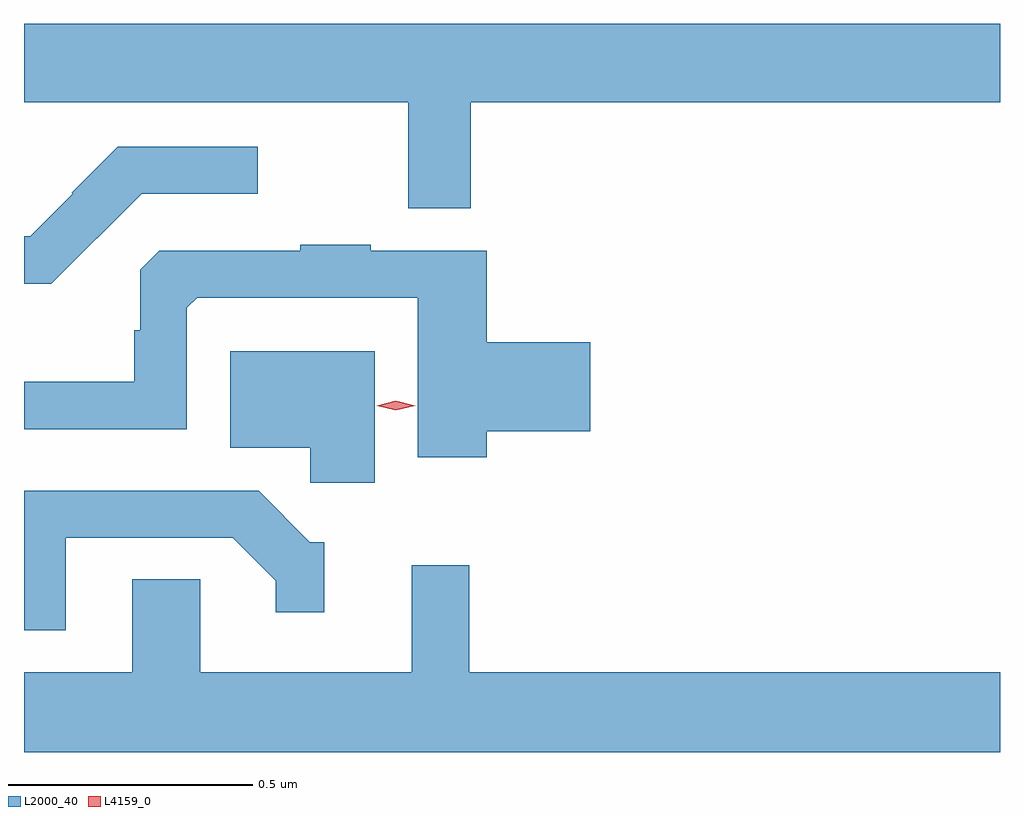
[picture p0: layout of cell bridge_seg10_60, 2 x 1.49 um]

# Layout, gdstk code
import gdstk
lib = gdstk.Library(unit=1e-6, precision=1e-09)
def P(c, l, *ps):  # polygons
    for p in ps: c.add(gdstk.Polygon(p, *l))
L2000_40 = (2000, 40)
L4159_0 = (4159, 0)

bridge_seg10_60 = lib.new_cell('bridge_seg10_60')
P(bridge_seg10_60, L2000_40, [(843.68,1305.644),(844.765,1305.644),(844.765,1305.804),(842.765,1305.804),(842.765,1305.644),(843.552,1305.644),(843.552,1305.426),(843.68,1305.426)],
  [(843.006,1305.456),(843.244,1305.456),(843.244,1305.552),(842.957,1305.552),(842.863,1305.458),(842.865,1305.456),(842.778,1305.369),(842.765,1305.369),(842.765,1305.272),(842.821,1305.272)],
  [(843.713,1304.969),(843.925,1304.969),(843.925,1305.152),(843.713,1305.152),(843.713,1305.339),(843.476,1305.339),(843.476,1305.352),(843.331,1305.352),(843.331,1305.339),(843.042,1305.339),(843.003,1305.3),(843.003,1305.176),(842.991,1305.176),(842.991,1305.071),(842.765,1305.071),(842.765,1304.973),(843.099,1304.973),(843.099,1305.222),(843.12,1305.243),(843.572,1305.243),(843.572,1304.916),(843.713,1304.916)],
  [(843.484,1305.133),(843.188,1305.133),(843.188,1304.936),(843.352,1304.936),(843.352,1304.864),(843.484,1304.864)],
  [(842.851,1304.751),(843.193,1304.751),(843.281,1304.663),(843.281,1304.598),(843.38,1304.598),(843.38,1304.742),(843.351,1304.742),(843.246,1304.847),(842.765,1304.847),(842.765,1304.562),(842.851,1304.562)],
  [(844.765,1304.476),(843.677,1304.476),(843.677,1304.695),(843.56,1304.695),(843.56,1304.476),(843.126,1304.476),(843.126,1304.666),(842.987,1304.666),(842.987,1304.476),(842.765,1304.476),(842.765,1304.312),(844.765,1304.312)])
P(bridge_seg10_60, L4159_0, [(843.527,1305.012),(843.488,1305.022),(843.488,1305.022),(843.488,1305.022),(843.527,1305.032),(843.567,1305.022),(843.567,1305.022),(843.567,1305.022)])

lib.write_gds('bridge_seg10_60.gds')
